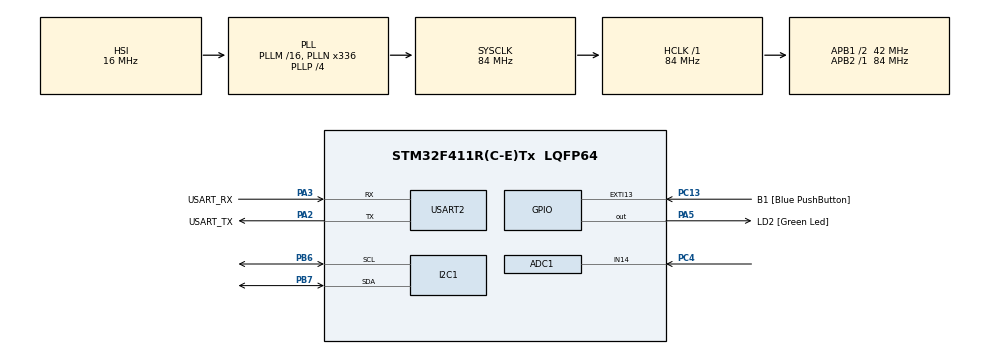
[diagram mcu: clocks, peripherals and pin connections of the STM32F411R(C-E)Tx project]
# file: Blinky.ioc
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ADC1.Channel-6\#ChannelRegularConversion=ADC_CHANNEL_14
ADC1.NbrOfConversionFlag=1
ADC1.Rank-6\#ChannelRegularConversion=1
ADC1.SamplingTime-6\#ChannelRegularConversion=ADC_SAMPLETIME_15CYCLES
ADC1.master=1
Mcu.Family=STM32F4
Mcu.Name=STM32F411R(C-E)Tx
Mcu.Package=LQFP64
NVIC.PriorityGroup=NVIC_PRIORITYGROUP_0
PA13.GPIO_Label=TMS
PA13.Mode=Serial_Wire
PA13.Signal=SYS_JTMS-SWDIO
PA14.GPIO_Label=TCK
PA14.Mode=Serial_Wire
PA14.Signal=SYS_JTCK-SWCLK
PA2.GPIO_Label=USART_TX
PA2.Mode=Asynchronous
PA2.Signal=USART2_TX
PA3.GPIO_Label=USART_RX
PA3.Mode=Asynchronous
PA3.Signal=USART2_RX
PA5.GPIO_Label=LD2 [Green Led]
PA5.Signal=GPIO_Output
PB3.GPIO_Label=SWO
PB3.Signal=SYS_JTDO-SWO
PB6.Mode=I2C
PB6.Signal=I2C1_SCL
PB7.Mode=I2C
PB7.Signal=I2C1_SDA
PC13-ANTI_TAMP.GPIO_Label=B1 [Blue PushButton]
PC13-ANTI_TAMP.GPIO_ModeDefaultEXTI=GPIO_MODE_IT_FALLING
PC13-ANTI_TAMP.Signal=GPXTI13
PC14-OSC32_IN.Mode=LSE-External-Oscillator
PC14-OSC32_IN.Signal=RCC_OSC32_IN
PC15-OSC32_OUT.Mode=LSE-External-Oscillator
PC15-OSC32_OUT.Signal=RCC_OSC32_OUT
PC4.Signal=ADCx_IN14
PH0\ -\ OSC_IN.Mode=HSE-External-Clock-Source
PH0\ -\ OSC_IN.Signal=RCC_OSC_IN
PH1\ -\ OSC_OUT.Mode=HSE-External-Clock-Source
PH1\ -\ OSC_OUT.Signal=RCC_OSC_OUT
ProjectManager.HeapSize=0x200
ProjectManager.StackSize=0x400
ProjectManager.TargetToolchain=CMake
RCC.48MHZClocksFreq_Value=84000000
RCC.AHBFreq_Value=84000000
RCC.APB1CLKDivider=RCC_HCLK_DIV2
RCC.APB1Freq_Value=42000000
RCC.APB1TimFreq_Value=84000000
RCC.APB2Freq_Value=84000000
RCC.APB2TimFreq_Value=84000000
RCC.CortexFreq_Value=84000000
RCC.FLatency-AdvancedSettings=FLASH_LATENCY_2
RCC.HCLKFreq_Value=84000000
RCC.HSE_VALUE=8000000
RCC.HSI_VALUE=16000000
RCC.PLLN=336
RCC.PLLP=RCC_PLLP_DIV4
RCC.SYSCLKFreq_VALUE=84000000
RCC.SYSCLKSource=RCC_SYSCLKSOURCE_PLLCLK
RCC.VCOOutputFreq_Value=336000000
SH.ADCx_IN14.0=ADC1_IN14,IN14
USART2.VirtualMode=VM_ASYNC
board=NUCLEO-F411RE

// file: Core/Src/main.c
/* USER CODE BEGIN Header */
/**
  ******************************************************************************
  * @file           : main.c
  * @brief          : Main program body
  ******************************************************************************
  * @attention
  *
  * Copyright (c) 2026 STMicroelectronics.
  * All rights reserved.
  *
  * This software is licensed under terms that can be found in the LICENSE file
  * in the root directory of this software component.
  * If no LICENSE file comes with this software, it is provided AS-IS.
  *
  ******************************************************************************
  */
/* USER CODE END Header */
#include "main.h"
#include <stdio.h>
#include <string.h>
#include <math.h>
#include <sys/_intsup.h>

ADC_HandleTypeDef hadc1;

I2C_HandleTypeDef hi2c1;

UART_HandleTypeDef huart2;

/* USER CODE BEGIN PV */
uint16_t lux = 0;
char msg[50];

/* USER CODE END PV */

void SystemClock_Config(void);
static void MX_GPIO_Init(void);
static void MX_USART2_UART_Init(void);
static void MX_ADC1_Init(void);
static void MX_I2C1_Init(void);

int main(void)
{

  /* MCU Configuration--------------------------------------------------------*/

  /* Reset of all peripherals, Initializes the Flash interface and the Systick. */
  HAL_Init();

  /* Configure the system clock */
  SystemClock_Config();

  /* Initialize all configured peripherals */
  MX_GPIO_Init();
  MX_USART2_UART_Init();
  MX_ADC1_Init();
  MX_I2C1_Init();

  /* Infinite loop */
  while (1)
  {

    /* USER CODE BEGIN 3 */
    HAL_ADC_Start(&hadc1);
    HAL_ADC_PollForConversion(&hadc1,20) ;
    lux = HAL_ADC_GetValue(&hadc1);
    float voltage = (lux / 4095.0) * 3.3;
    float Rt = 10.0 * voltage / (3.3 - voltage);
    float tempK = 1.0 / (1.0 / (273.15 + 25.0) + log(Rt / 10.0) / 3950.0);
    float correction = 10.0;
    float tempC = tempK - 273.15 - correction;

    int tempWhole = (int)tempC;
    int tempDec = (int)((tempC - tempWhole) * 100);
    if(tempDec < 0) tempDec = -tempDec;
    sprintf(msg, "Temperature: %d.%02d C\r\n", tempWhole, tempDec);

    HAL_UART_Transmit(&huart2, (uint8_t*)msg, strlen(msg), HAL_MAX_DELAY);
    HAL_Delay(500);

    //if(lux < 2000){
    //  HAL_GPIO_WritePin(GPIOA,GPIO_PIN_8,1);
    //} else {
    //  HAL_GPIO_WritePin(GPIOA,GPIO_PIN_8,0);
    //}

  }
  /* USER CODE END 3 */
}

void SystemClock_Config(void)
{
  RCC_OscInitTypeDef RCC_OscInitStruct = {0};
  RCC_ClkInitTypeDef RCC_ClkInitStruct = {0};

  /** Configure the main internal regulator output voltage
  */
  __HAL_RCC_PWR_CLK_ENABLE();
  __HAL_PWR_VOLTAGESCALING_CONFIG(PWR_REGULATOR_VOLTAGE_SCALE1);

  /** Initializes the RCC Oscillators according to the specified parameters
  * in the RCC_OscInitTypeDef structure.
  */
  RCC_OscInitStruct.OscillatorType = RCC_OSCILLATORTYPE_HSI;
  RCC_OscInitStruct.HSIState = RCC_HSI_ON;
  RCC_OscInitStruct.HSICalibrationValue = RCC_HSICALIBRATION_DEFAULT;
  RCC_OscInitStruct.PLL.PLLState = RCC_PLL_ON;
  RCC_OscInitStruct.PLL.PLLSource = RCC_PLLSOURCE_HSI;
  RCC_OscInitStruct.PLL.PLLM = 16;
  RCC_OscInitStruct.PLL.PLLN = 336;
  RCC_OscInitStruct.PLL.PLLP = RCC_PLLP_DIV4;
  RCC_OscInitStruct.PLL.PLLQ = 4;
  if (HAL_RCC_OscConfig(&RCC_OscInitStruct) != HAL_OK)
  {
    Error_Handler();
  }

  /** Initializes the CPU, AHB and APB buses clocks
  */
  RCC_ClkInitStruct.ClockType = RCC_CLOCKTYPE_HCLK|RCC_CLOCKTYPE_SYSCLK
                              |RCC_CLOCKTYPE_PCLK1|RCC_CLOCKTYPE_PCLK2;
  RCC_ClkInitStruct.SYSCLKSource = RCC_SYSCLKSOURCE_PLLCLK;
  RCC_ClkInitStruct.AHBCLKDivider = RCC_SYSCLK_DIV1;
  RCC_ClkInitStruct.APB1CLKDivider = RCC_HCLK_DIV2;
  RCC_ClkInitStruct.APB2CLKDivider = RCC_HCLK_DIV1;

  if (HAL_RCC_ClockConfig(&RCC_ClkInitStruct, FLASH_LATENCY_2) != HAL_OK)
  {
    Error_Handler();
  }
}

static void MX_ADC1_Init(void)
{

  ADC_ChannelConfTypeDef sConfig = {0};

  /** Configure the global features of the ADC (Clock, Resolution, Data Alignment and number of conversion)
  */
  hadc1.Instance = ADC1;
  hadc1.Init.ClockPrescaler = ADC_CLOCK_SYNC_PCLK_DIV4;
  hadc1.Init.Resolution = ADC_RESOLUTION_12B;
  hadc1.Init.ScanConvMode = DISABLE;
  hadc1.Init.ContinuousConvMode = DISABLE;
  hadc1.Init.DiscontinuousConvMode = DISABLE;
  hadc1.Init.ExternalTrigConvEdge = ADC_EXTERNALTRIGCONVEDGE_NONE;
  hadc1.Init.ExternalTrigConv = ADC_SOFTWARE_START;
  hadc1.Init.DataAlign = ADC_DATAALIGN_RIGHT;
  hadc1.Init.NbrOfConversion = 1;
  hadc1.Init.DMAContinuousRequests = DISABLE;
  hadc1.Init.EOCSelection = ADC_EOC_SINGLE_CONV;
  if (HAL_ADC_Init(&hadc1) != HAL_OK)
  {
    Error_Handler();
  }

  /** Configure for the selected ADC regular channel its corresponding rank in the sequencer and its sample time.
  */
  sConfig.Channel = ADC_CHANNEL_14;
  sConfig.Rank = 1;
  sConfig.SamplingTime = ADC_SAMPLETIME_15CYCLES;
  if (HAL_ADC_ConfigChannel(&hadc1, &sConfig) != HAL_OK)
  {
    Error_Handler();
  }

}

static void MX_I2C1_Init(void)
{

  hi2c1.Instance = I2C1;
  hi2c1.Init.ClockSpeed = 100000;
  hi2c1.Init.DutyCycle = I2C_DUTYCYCLE_2;
  hi2c1.Init.OwnAddress1 = 0;
  hi2c1.Init.AddressingMode = I2C_ADDRESSINGMODE_7BIT;
  hi2c1.Init.DualAddressMode = I2C_DUALADDRESS_DISABLE;
  hi2c1.Init.OwnAddress2 = 0;
  hi2c1.Init.GeneralCallMode = I2C_GENERALCALL_DISABLE;
  hi2c1.Init.NoStretchMode = I2C_NOSTRETCH_DISABLE;
  if (HAL_I2C_Init(&hi2c1) != HAL_OK)
  {
    Error_Handler();
  }

}

static void MX_USART2_UART_Init(void)
{

  huart2.Instance = USART2;
  huart2.Init.BaudRate = 115200;
  huart2.Init.WordLength = UART_WORDLENGTH_8B;
  huart2.Init.StopBits = UART_STOPBITS_1;
  huart2.Init.Parity = UART_PARITY_NONE;
  huart2.Init.Mode = UART_MODE_TX_RX;
  huart2.Init.HwFlowCtl = UART_HWCONTROL_NONE;
  huart2.Init.OverSampling = UART_OVERSAMPLING_16;
  if (HAL_UART_Init(&huart2) != HAL_OK)
  {
    Error_Handler();
  }

}

static void MX_GPIO_Init(void)
{
  GPIO_InitTypeDef GPIO_InitStruct = {0};

  /* GPIO Ports Clock Enable */
  __HAL_RCC_GPIOC_CLK_ENABLE();
  __HAL_RCC_GPIOH_CLK_ENABLE();
  __HAL_RCC_GPIOA_CLK_ENABLE();
  __HAL_RCC_GPIOB_CLK_ENABLE();

  /*Configure GPIO pin Output Level */
  HAL_GPIO_WritePin(LD2_GPIO_Port, LD2_Pin, GPIO_PIN_RESET);

  /*Configure GPIO pin : B1_Pin */
  GPIO_InitStruct.Pin = B1_Pin;
  GPIO_InitStruct.Mode = GPIO_MODE_IT_FALLING;
  GPIO_InitStruct.Pull = GPIO_NOPULL;
  HAL_GPIO_Init(B1_GPIO_Port, &GPIO_InitStruct);

  /*Configure GPIO pin : LD2_Pin */
  GPIO_InitStruct.Pin = LD2_Pin;
  GPIO_InitStruct.Mode = GPIO_MODE_OUTPUT_PP;
  GPIO_InitStruct.Pull = GPIO_NOPULL;
  GPIO_InitStruct.Speed = GPIO_SPEED_FREQ_LOW;
  HAL_GPIO_Init(LD2_GPIO_Port, &GPIO_InitStruct);

  /* USER CODE BEGIN MX_GPIO_Init_2 */
  /*Configure GPIO Pin PA8*/
  GPIO_InitStruct.Pin = GPIO_PIN_8;
  GPIO_InitStruct.Mode = GPIO_MODE_OUTPUT_PP;
  GPIO_InitStruct.Pull = GPIO_NOPULL;
  GPIO_InitStruct.Speed = GPIO_SPEED_FREQ_LOW;
  HAL_GPIO_Init(GPIOA, &GPIO_InitStruct);
  /* USER CODE END MX_GPIO_Init_2 */
}

void Error_Handler(void)
{
  __disable_irq();
  while (1)
  {
  }
}
